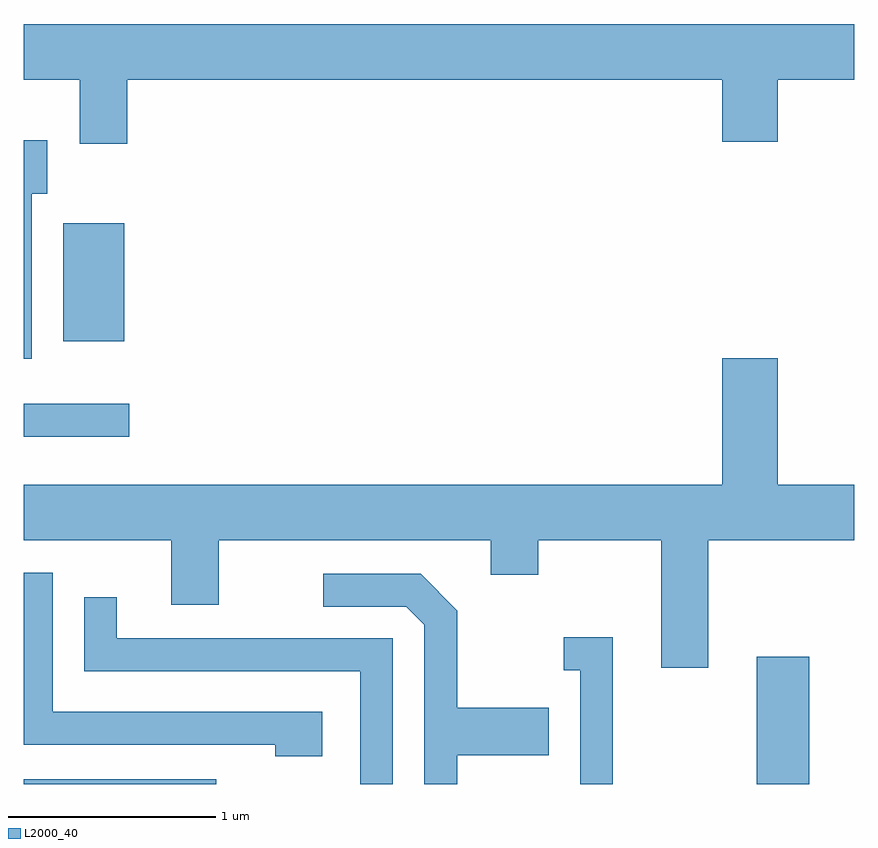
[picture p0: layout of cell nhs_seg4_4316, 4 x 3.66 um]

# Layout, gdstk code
import gdstk
lib = gdstk.Library(unit=1e-6, precision=1e-09)
def R(c, l, rs):  # rectangles x0, y0, x1, y1
    for r in rs: c.add(gdstk.rectangle(r[:2], r[2:], *l))
def P(c, l, *ps):  # polygons
    for p in ps: c.add(gdstk.Polygon(p, *l))
L2000_40 = (2000, 40)

nhs_seg4_4316 = lib.new_cell('nhs_seg4_4316')
R(nhs_seg4_4316, L2000_40, [(311.611,1317.982,312.538,1318.004), (315.141,1317.982,315.394,1318.594), (311.611,1319.656,312.118,1319.814), (311.801,1320.116,312.094,1320.684)])
P(nhs_seg4_4316, L2000_40, [(312.109,1321.376),(314.976,1321.376),(314.976,1321.076),(315.244,1321.076),(315.244,1321.376),(315.611,1321.376),(315.611,1321.644),(311.611,1321.644),(311.611,1321.376),(311.881,1321.376),(311.881,1321.066),(312.109,1321.066)],
  [(311.649,1320.826),(311.724,1320.826),(311.724,1321.084),(311.611,1321.084),(311.611,1320.031),(311.649,1320.031)],
  [(314.909,1319.156),(315.611,1319.156),(315.611,1319.424),(315.244,1319.424),(315.244,1320.034),(314.976,1320.034),(314.976,1319.424),(311.611,1319.424),(311.611,1319.156),(312.321,1319.156),(312.321,1318.846),(312.549,1318.846),(312.549,1319.156),(313.861,1319.156),(313.861,1318.991),(314.089,1318.991),(314.089,1319.156),(314.681,1319.156),(314.681,1318.541),(314.909,1318.541)],
  [(313.049,1318.329),(311.749,1318.329),(311.749,1318.999),(311.611,1318.999),(311.611,1318.171),(312.821,1318.171),(312.821,1318.116),(313.049,1318.116)],
  [(313.699,1318.121),(314.139,1318.121),(314.139,1318.349),(313.699,1318.349),(313.699,1318.817),(313.522,1318.994),(313.053,1318.994),(313.053,1318.836),(313.454,1318.836),(313.541,1318.749),(313.541,1317.982),(313.699,1317.982)],
  [(313.389,1318.684),(312.059,1318.684),(312.059,1318.883),(311.901,1318.883),(311.901,1318.526),(313.231,1318.526),(313.231,1317.982),(313.389,1317.982)],
  [(314.449,1318.689),(314.213,1318.689),(314.213,1318.531),(314.291,1318.531),(314.291,1317.982),(314.449,1317.982)])

lib.write_gds('nhs_seg4_4316.gds')
